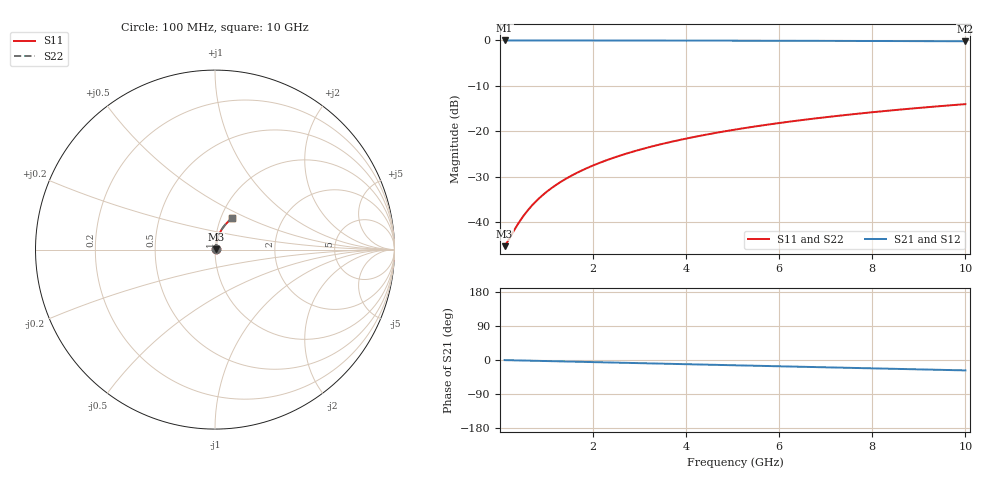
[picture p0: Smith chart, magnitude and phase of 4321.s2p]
# Hz S RI R 50.00
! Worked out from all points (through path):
!   100 points, 100 MHz to 10 GHz, reference 50 ohm
!   highest |S21| = -0.04 dB at 100 MHz (marker M1); lowest = -0.2 dB at 10 GHz (marker M2)
!   group delay of S21, straight-line fit = 7.62 ps
!   lowest |S11| = -45.3 dB at 100 MHz (marker M3), VSWR 1.01, Z = 50.5 + j0.208 ohm
!   |S11| at or under -10 dB: start of sweep to end of sweep
!   |S22| runs from -45.3 to -14.1 dB; largest |S21 - S12| = 0
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1e8  0.00503 0.00206  0.995 -0.00481  0.995 -0.00481  0.00503 0.00206
2e8  0.00509 0.00412  0.9949 -0.00962  0.9949 -0.00962  0.00509 0.00412
3e8  0.00516 0.00618  0.9948 -0.0144  0.9948 -0.0144  0.00516 0.00618
4e8  0.00525 0.00824  0.9947 -0.0192  0.9947 -0.0192  0.00525 0.00824
5e8  0.00536 0.0103  0.9945 -0.024  0.9945 -0.024  0.00536 0.0103
6e8  0.00548 0.0124  0.9944 -0.0289  0.9944 -0.0289  0.00548 0.0124
7e8  0.00562 0.0144  0.9942 -0.0337  0.9942 -0.0337  0.00562 0.0144
8e8  0.00578 0.0165  0.994 -0.0385  0.994 -0.0385  0.00578 0.0165
1e9  0.00616 0.0206  0.9934 -0.0481  0.9934 -0.0481  0.00616 0.0206
1.2e9  0.00662 0.0247  0.9928 -0.0577  0.9928 -0.0577  0.00662 0.0247
1.5e9  0.00745 0.0308  0.9917 -0.072  0.9917 -0.072  0.00745 0.0308
1.8e9  0.00845 0.0369  0.9903 -0.0864  0.9903 -0.0864  0.00845 0.0369
2.1e9  0.00963 0.0429  0.9886 -0.1007  0.9886 -0.1007  0.00963 0.0429
2.5e9  0.0115 0.0509  0.9861 -0.1197  0.9861 -0.1197  0.0115 0.0509
2.9e9  0.0136 0.0589  0.9831 -0.1387  0.9831 -0.1387  0.0136 0.0589
3.4e9  0.0167 0.0686  0.9788 -0.1622  0.9788 -0.1622  0.0167 0.0686
4.2e9  0.0226 0.0839  0.9705 -0.1995  0.9705 -0.1995  0.0226 0.0839
5.1e9  0.0307 0.1004  0.9593 -0.2408  0.9593 -0.2408  0.0307 0.1004
5.9e9  0.0389 0.1145  0.9476 -0.2769  0.9476 -0.2769  0.0389 0.1145
6.7e9  0.0483 0.1278  0.9344 -0.3122  0.9344 -0.3122  0.0483 0.1278
8.4e9  0.0711 0.1534  0.9015 -0.3846  0.9015 -0.3846  0.0711 0.1534
1e10  0.0959 0.1736  0.8651 -0.4488  0.8651 -0.4488  0.0959 0.1736
